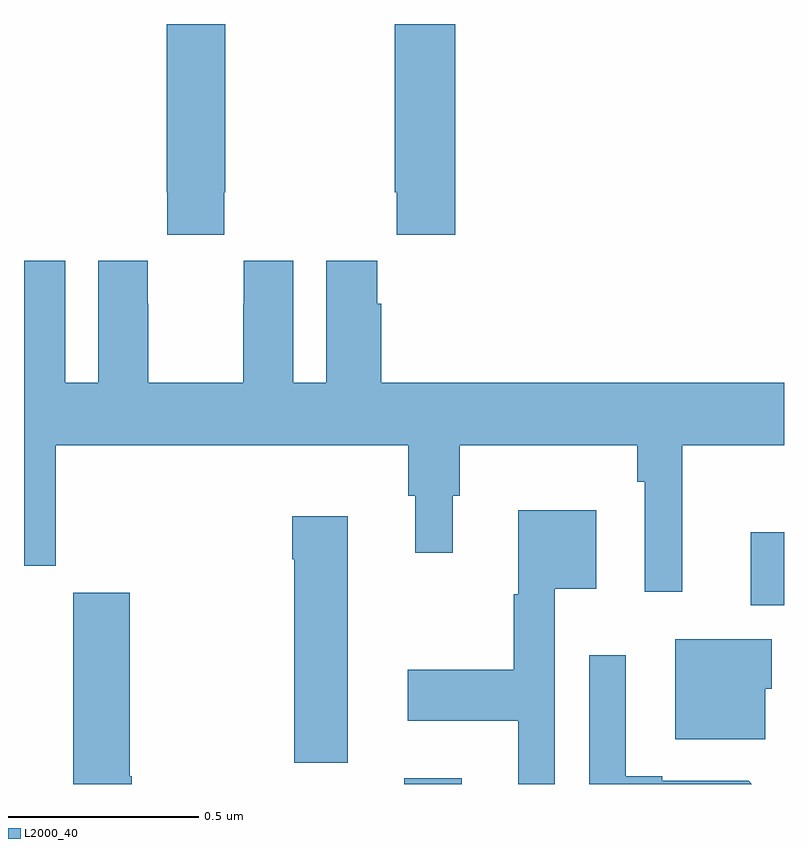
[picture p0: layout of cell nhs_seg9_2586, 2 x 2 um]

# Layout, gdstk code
import gdstk
lib = gdstk.Library(unit=1e-6, precision=1e-09)
def R(c, l, rs):  # rectangles x0, y0, x1, y1
    for r in rs: c.add(gdstk.rectangle(r[:2], r[2:], *l))
def P(c, l, *ps):  # polygons
    for p in ps: c.add(gdstk.Polygon(p, *l))
L2000_40 = (2000, 40)

nhs_seg9_2586 = lib.new_cell('nhs_seg9_2586')
R(nhs_seg9_2586, L2000_40, [(143,1223.5,143.152,1223.515), (143.912,1223.97,144,1224.163)])
P(nhs_seg9_2586, L2000_40, [(142.527,1225.057),(142.53,1225.057),(142.53,1225.5),(142.375,1225.5),(142.375,1225.057),(142.377,1225.057),(142.377,1224.945),(142.527,1224.945)],
  [(143.135,1225.5),(142.975,1225.5),(142.975,1225.057),(142.981,1225.057),(142.981,1224.945),(143.135,1224.945)],
  [(143.732,1224.392),(144,1224.392),(144,1224.556),(142.94,1224.556),(142.94,1224.764),(142.93,1224.764),(142.93,1224.877),(142.796,1224.877),(142.796,1224.556),(142.708,1224.556),(142.708,1224.877),(142.578,1224.877),(142.578,1224.764),(142.577,1224.764),(142.577,1224.556),(142.327,1224.556),(142.327,1224.764),(142.326,1224.764),(142.326,1224.877),(142.196,1224.877),(142.196,1224.556),(142.108,1224.556),(142.108,1224.877),(142,1224.877),(142,1224.075),(142.084,1224.075),(142.084,1224.392),(143.011,1224.392),(143.011,1224.258),(143.03,1224.258),(143.03,1224.108),(143.128,1224.108),(143.128,1224.258),(143.147,1224.258),(143.147,1224.392),(143.614,1224.392),(143.614,1224.296),(143.634,1224.296),(143.634,1224.006),(143.732,1224.006)],
  [(143.397,1224.014),(143.506,1224.014),(143.506,1224.22),(143.3,1224.22),(143.3,1224),(143.289,1224),(143.289,1223.801),(143.01,1223.801),(143.01,1223.666),(143.3,1223.666),(143.3,1223.5),(143.397,1223.5)],
  [(142.852,1224.205),(142.706,1224.205),(142.706,1224.092),(142.711,1224.092),(142.711,1223.556),(142.852,1223.556)],
  [(142.283,1223.52),(142.278,1223.52),(142.278,1224.003),(142.13,1224.003),(142.13,1223.5),(142.283,1223.5)],
  [(143.95,1223.751),(143.968,1223.751),(143.968,1223.881),(143.714,1223.881),(143.714,1223.618),(143.95,1223.618)],
  [(143.907,1223.508),(143.68,1223.508),(143.68,1223.521),(143.584,1223.521),(143.584,1223.839),(143.487,1223.839),(143.487,1223.5),(143.915,1223.5)])

lib.write_gds('nhs_seg9_2586.gds')
